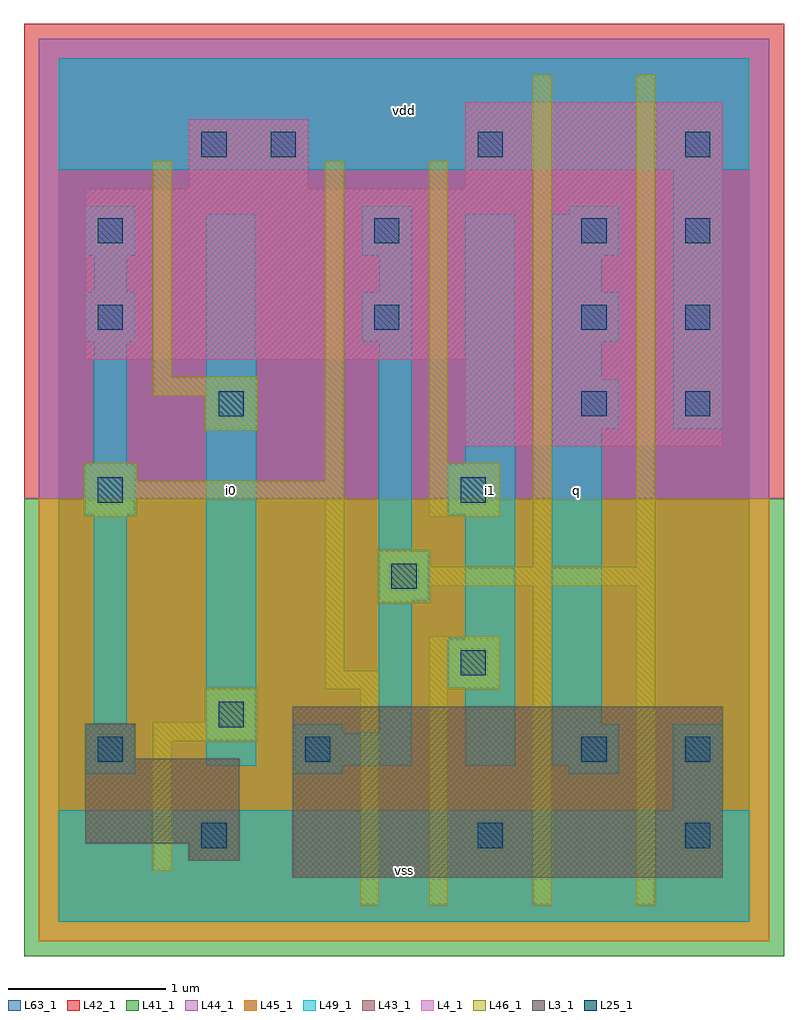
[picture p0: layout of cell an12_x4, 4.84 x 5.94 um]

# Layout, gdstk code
import gdstk
lib = gdstk.Library(unit=1e-6, precision=1e-09)
def R(c, l, rs):  # rectangles x0, y0, x1, y1
    for r in rs: c.add(gdstk.rectangle(r[:2], r[2:], *l))
def A(c, l, x, y, w, h, nx, ny, dx, dy):  # array of equal rectangles
    R(c, l, [(x+i*dx, y+j*dy, x+i*dx+w, y+j*dy+h) for i in range(nx) for j in range(ny)])
L3_1 = (3, 1)
L4_1 = (4, 1)
L25_1 = (25, 1)
L41_1 = (41, 1)
L42_1 = (42, 1)
L43_1 = (43, 1)
L44_1 = (44, 1)
L45_1 = (45, 1)
L46_1 = (46, 1)
L49_1 = (49, 1)
L63_1 = (63, 1)

an12_x4 = lib.new_cell('an12_x4')
R(an12_x4, L3_1, [(1.49,0.28,4.23,1.37), (0.83,0.39,1.15,0.5), (0.17,0.5,1.15,1.04), (0.17,1.04,0.49,1.26)])
R(an12_x4, L4_1, [(2.59,3.03,4.23,3.58), (0.17,3.58,4.23,4.67), (0.83,4.67,1.59,5.11), (2.59,4.67,4.23,5.22)])
A(an12_x4, L25_1, 3.33, 3.22, 0.16, 0.16, 1, 3, 0, 0.55)
A(an12_x4, L25_1, 3.99, 3.22, 0.16, 0.16, 1, 3, 0, 0.55)
A(an12_x4, L25_1, 1.35, 4.87, 0.16, 0.16, 3, 1, 1.32, 0)
R(an12_x4, L25_1, [(0.91,0.47,1.07,0.63), (2.67,0.47,2.83,0.63), (3.99,0.47,4.15,0.63), (0.25,1.02,0.41,1.18), (1.57,1.02,1.73,1.18), (3.33,1.02,3.49,1.18), (3.99,1.02,4.15,1.18), (1.02,1.24,1.18,1.4), (2.56,1.57,2.72,1.73), (2.12,2.12,2.28,2.28), (0.25,2.67,0.41,2.83), (2.56,2.67,2.72,2.83), (1.02,3.22,1.18,3.38), (0.25,3.77,0.41,3.93), (2.01,3.77,2.17,3.93), (0.25,4.32,0.41,4.48), (2.01,4.32,2.17,4.48), (0.91,4.87,1.07,5.03)])
R(an12_x4, L41_1, [(-0.22,-0.22,4.62,2.695)])
R(an12_x4, L42_1, [(-0.22,2.695,4.62,5.72)])
R(an12_x4, L43_1, [(1.49,0.28,4.23,1.37), (0.83,0.39,1.15,0.5), (0.17,0.5,1.15,1.04), (0.17,1.04,0.49,1.26), (2.59,3.03,4.23,3.58), (0.17,3.58,4.23,4.67), (0.83,4.67,1.59,5.11), (2.59,4.67,4.23,5.22)])
R(an12_x4, L44_1, [(-0.125,2.695,4.525,5.625)])
R(an12_x4, L45_1, [(-0.125,-0.125,4.525,2.695)])
R(an12_x4, L46_1, [(1.92,0.105,2.04,1.48), (2.36,0.105,2.48,1.48), (3.02,0.105,3.14,2.14), (3.68,0.105,3.8,2.14), (0.6,0.325,0.72,1.15), (0.6,1.15,1.27,1.27), (0.93,1.27,1.27,1.49), (1.7,1.48,2.04,1.6), (2.36,1.48,2.81,1.82), (1.7,1.6,1.82,2.69), (2.03,2.03,2.37,2.14), (2.03,2.14,3.8,2.26), (2.03,2.26,2.37,2.37), (3.02,2.26,3.14,5.395), (3.68,2.26,3.8,5.395), (0.16,2.58,0.5,2.69), (2.36,2.58,2.81,2.92), (0.16,2.69,1.82,2.81), (0.16,2.81,0.5,2.92), (1.7,2.81,1.82,4.845), (2.36,2.92,2.48,4.845), (0.93,3.13,1.27,3.35), (0.6,3.35,1.27,3.47), (0.6,3.47,0.72,4.845)])
R(an12_x4, L49_1, [(0,0,4.4,0.71), (3.91,0.71,4.23,1.26), (0.17,0.94,0.49,1.26), (1.49,0.94,1.81,0.995), (3.25,0.94,3.57,0.995), (0.94,0.995,1.26,4.505), (1.49,0.995,2.25,1.205), (2.59,0.995,2.91,1.49), (3.14,0.995,3.57,1.26), (1.49,1.205,1.81,1.26), (2.04,1.205,2.25,2.04), (0.225,1.26,0.435,2.59), (3.14,1.26,3.46,3.14), (2.48,1.49,2.91,1.81), (2.59,1.81,2.91,2.59), (2.04,2.04,2.36,2.36), (2.04,2.36,2.25,3.69), (0.17,2.59,0.49,2.91), (2.48,2.59,2.91,2.91), (0.225,2.91,0.435,3.69), (2.59,2.91,2.91,4.505), (3.14,3.14,3.57,3.46), (3.91,3.14,4.23,4.79), (3.14,3.46,3.46,3.69), (0.17,3.69,0.49,4.01), (1.93,3.69,2.25,4.01), (3.14,3.69,3.57,4.01), (0.225,4.01,0.435,4.24), (2.04,4.01,2.25,4.24), (3.14,4.01,3.46,4.24), (0.17,4.24,0.49,4.56), (1.93,4.24,2.25,4.56), (3.14,4.24,3.57,4.505), (3.25,4.505,3.57,4.56), (0,4.79,4.4,5.5)])
R(an12_x4, L63_1, [(0,0,4.4,5.5)])
an12_x4.add(gdstk.Label('i0', (1.1,2.75), layer=49, texttype=1))
an12_x4.add(gdstk.Label('i0', (1.1,2.75), layer=49, texttype=1))
an12_x4.add(gdstk.Label('vss', (2.2,0.33), layer=49, texttype=1))
an12_x4.add(gdstk.Label('vss', (2.2,0.33), layer=49, texttype=1))
an12_x4.add(gdstk.Label('i1', (2.75,2.75), layer=49, texttype=1))
an12_x4.add(gdstk.Label('q', (3.3,2.75), layer=49, texttype=1))
an12_x4.add(gdstk.Label('i1', (2.75,2.75), layer=49, texttype=1))
an12_x4.add(gdstk.Label('q', (3.3,2.75), layer=49, texttype=1))
an12_x4.add(gdstk.Label('vdd', (2.2,5.17), layer=49, texttype=1))
an12_x4.add(gdstk.Label('vdd', (2.2,5.17), layer=49, texttype=1))

lib.write_gds('an12_x4.gds')
